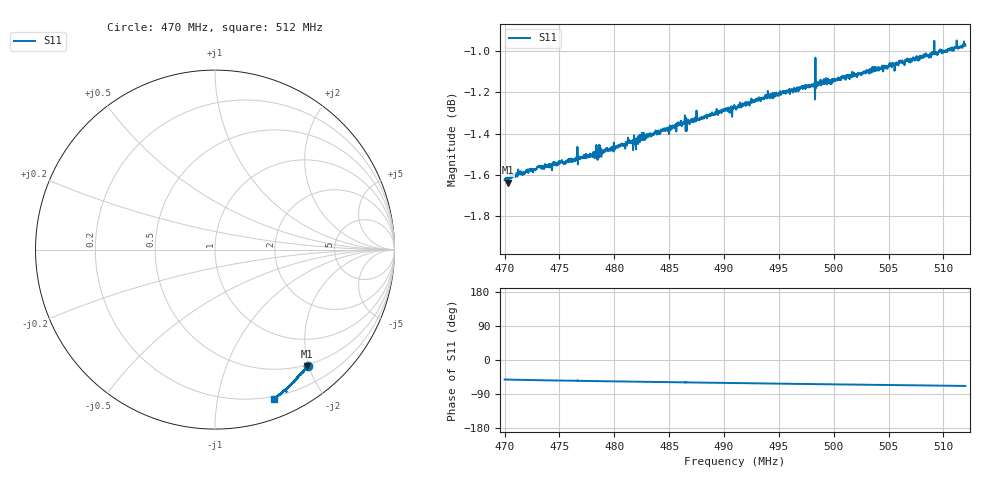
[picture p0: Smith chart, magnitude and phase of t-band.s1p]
! Calibrated averaged scanner-service zoom
# Hz S RI R 50
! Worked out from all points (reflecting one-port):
!   4001 points, 470 MHz to 512 MHz, reference 50 ohm
!   lowest |S11| = -1.6 dB at 470.3 MHz (marker M1), VSWR 10.63, Z = 23.8 - j98.5 ohm
!   phase of S11 starts at -52 deg and turns -17 deg over the sweep
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4.7e8  0.516 -0.6492
4.70336e8  0.513 -0.65
4.73087e8  0.5001 -0.6693
4.740845e8  0.4946 -0.6745
4.7525e8  0.4877 -0.6815
4.763105e8  0.4832 -0.685
4.764155e8  0.4833 -0.6858
4.764575e8  0.4821 -0.6862
4.768355e8  0.4806 -0.689
4.76888e8  0.4803 -0.6883
4.77665e8  0.4766 -0.6925
4.805e8  0.4653 -0.706
4.80962e8  0.4634 -0.708
4.813925e8  0.4623 -0.7108
4.81823e8  0.4605 -0.7124
4.824005e8  0.4584 -0.7161
4.8575e8  0.4437 -0.7308
4.91e8  0.4218 -0.7541
4.93919e8  0.4085 -0.7663
4.9625e8  0.3982 -0.7761
4.980875e8  0.3903 -0.7821
4.9814e8  0.3896 -0.7826
4.99589e8  0.3821 -0.7892
5.015e8  0.3749 -0.7948
5.05721e8  0.3568 -0.8107
5.0675e8  0.3526 -0.8141
5.08997e8  0.3428 -0.8222
5.12e8  0.328 -0.8317
